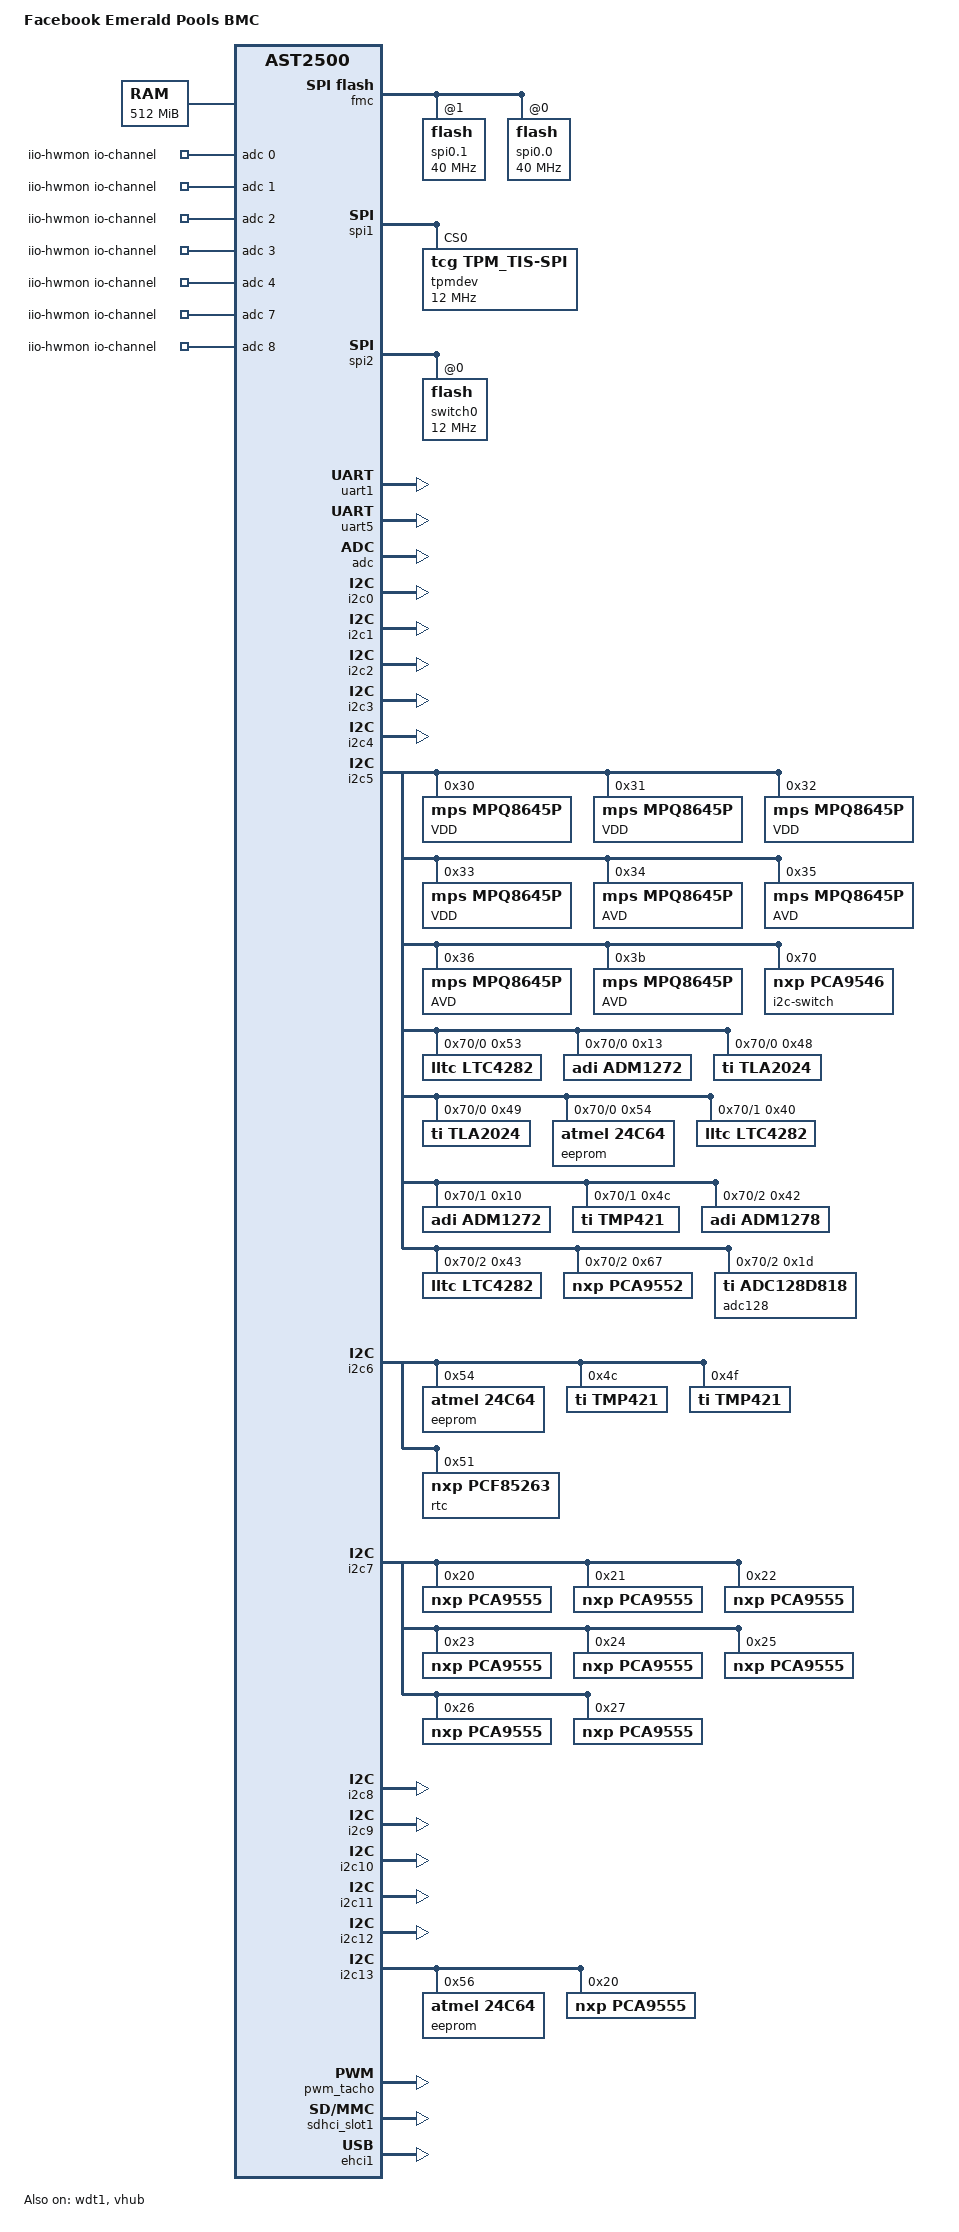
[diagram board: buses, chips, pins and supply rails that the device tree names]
// SPDX-License-Identifier: GPL-2.0+
// Copyright (c) 2018 Facebook Inc.
/dts-v1/;

#include "aspeed-g5.dtsi"
#include <dt-bindings/leds/leds-pca955x.h>
#include <dt-bindings/gpio/aspeed-gpio.h>

/ {
	model = "Facebook Emerald Pools BMC";
	compatible = "facebook,emeraldpools-bmc", "aspeed,ast2500";

	aliases {
		/*
		 * Override the default serial aliases to avoid breaking
		 * the legacy applications.
		 */
		serial0 = &uart5;
		serial1 = &uart1;

		i2c16 = &imux16;
		i2c17 = &imux17;
		i2c18 = &imux18;
	};

	chosen {
		stdout-path = &uart5;
		bootargs = "debug console=ttyS4,57600n8 root=/dev/ram rw";
	};

	memory@80000000 {
		reg = <0x80000000 0x20000000>;
	};

	iio-hwmon {
		compatible = "iio-hwmon";
		io-channels = <&adc 0>, <&adc 1>, <&adc 2>, <&adc 3>,
					<&adc 4>, <&adc 7>, <&adc 8>;
	};
};

&wdt1 {
	status = "okay";
	pinctrl-names = "default";
	pinctrl-0 = <&pinctrl_wdtrst1_default>;
	aspeed,reset-type = "soc";
	aspeed,external-signal;
	aspeed,ext-push-pull;
	aspeed,ext-active-high;
	aspeed,ext-pulse-duration = <256>;
};

&fmc {
	status = "okay";
	flash@0 {
		reg = < 1 >;
		status = "okay";
		m25p,fast-read;
		label = "spi0.1";
		spi-max-frequency = <40000000>;
#include "facebook-bmc-flash1-layout.dtsi"
	};
	flash@1 {
		reg = < 0 >;
		status = "okay";
		m25p,fast-read;
		label = "spi0.0";
		spi-max-frequency = <40000000>;
#include "facebook-bmc-pfr-flash0-layout.dtsi"
	};
};

&spi1 {
	status = "okay";
	compatible = "aspeed,ast2500-spi-master";

	pinctrl-names = "default";
	pinctrl-0 = <&pinctrl_spi1_default>;

	tpmdev@0 {
		reg = <0>;
		compatible = "tcg,tpm_tis-spi";
		spi-max-frequency = <12000000>;
		status = "okay";
	};
};

&spi2 {
	status = "okay";
	compatible = "aspeed,ast2500-spi-master";

	pinctrl-names = "default";
	pinctrl-0 = <&pinctrl_spi2ck_default &pinctrl_spi2cs0_default &pinctrl_spi2miso_default &pinctrl_spi2mosi_default>;

	flash@0 {
		status = "okay";
		m25p,fast-read;
		spi-max-frequency = <12000000>;
		label = "switch0";
	};
};

&uart1 {
	// OAM Console
	status = "okay";
	pinctrl-names = "default";
	pinctrl-0 = <&pinctrl_txd1_default
		     &pinctrl_rxd1_default>;
};

&uart5 {
	// BMC Console
	status = "okay";
};

&adc {
	status = "okay";
};

&i2c0 {
	multi-master;
	status = "okay";
};

&i2c1 {
	multi-master;
	status = "okay";
};

&i2c2 {
	multi-master;
	status = "okay";
};

&i2c3 {
	multi-master;
	status = "okay";
};

&i2c4 {
	status = "okay";
};

&i2c5 {
	status = "okay";
	// Voltage regulators
	VDD@0x30 {
		compatible = "mps,mpq8645p";
		reg = <0x30>;
	};
	VDD@0x31 {
		compatible = "mps,mpq8645p";
		reg = <0x31>;
	};
	VDD@0x32 {
		compatible = "mps,mpq8645p";
		reg = <0x32>;
	};
	VDD@0x33 {
		compatible = "mps,mpq8645p";
		reg = <0x33>;
	};
	AVD@0x34 {
		compatible = "mps,mpq8645p";
		reg = <0x34>;
	};
	AVD@0x35 {
		compatible = "mps,mpq8645p";
		reg = <0x35>;
	};
	AVD@0x36 {
		compatible = "mps,mpq8645p";
		reg = <0x36>;
	};
	AVD@0x3b {
		compatible = "mps,mpq8645p";
		reg = <0x3b>;
	};
	// Muxer emulated by CPLD
	i2c-switch@70 {
		compatible = "nxp,pca9546";
		#address-cells = <1>;
		#size-cells = <0>;
		reg = <0x70>;
		imux16: i2c@0 {
			#address-cells = <1>;
			#size-cells = <0>;
			reg = <0>;
			// P12V Hot swap controller
			ltc4282@53 {
				compatible = "lltc,ltc4282";
				reg = <0x53>;
			};
			// P48V Hot swap controller
			adm1272@13 {
				compatible = "adi,adm1272";
				reg = <0x13>;
				fast-gate-disable;
			};
			// ADC for monitoring vicor temperature
			tla2024@48 {
				compatible = "ti,tla2024";
				reg = <0x48>;
				vin@0 {
					single-channel = <0>;
				};
				vin@1 {
					single-channel = <1>;
				};
				vin@2 {
					single-channel = <2>;
				};
				vin@3 {
					single-channel = <3>;
				};
			};
			// ADC for monitoring vicor temperature
			tla2024@49 {
				compatible = "ti,tla2024";
				reg = <0x49>;
				vin@0 {
					single-channel = <0>;
				};
				vin@1 {
					single-channel = <1>;
				};
				vin@2 {
					single-channel = <2>;
				};
				vin@3 {
					single-channel = <3>;
				};
			};
			// PDB FRUID
			eeprom@54 {
				compatible = "atmel,24c64";
				reg = <0x54>;
			};
		};

		imux17: i2c@1 {
			#address-cells = <1>;
			#size-cells = <0>;
			reg = <1>;
			// P12V Hot swap controller
			ltc4282@40 {
				compatible = "lltc,ltc4282";
				reg = <0x40>;
			};
			// P48V Hot swap controller
			adm1272@10 {
				compatible = "adi,adm1272";
				reg = <0x10>;
				fast-gate-disable;
			};
			// PDB Outlet temperature
			tmp421@4c {
				compatible = "ti,tmp421";
				reg = <0x4c>;
			};
		};

		imux18: i2c@2 {
			#address-cells = <1>;
			#size-cells = <0>;
			reg = <2>;
			// P12V Hot swap controller
			adm1278@42 {
				compatible = "adi,adm1278";
				reg = <0x42>;
			};
			ltc4282@43 {
				compatible = "lltc,ltc4282";
				reg = <0x43>;
			};
			// LED driver
			pca9552@67 {
				compatible = "nxp,pca9552";
				reg = <0x67>;
				#address-cells = <1>;
				#size-cells = <0>;
				gpio-controller;
				#gpio-cells = <2>;

				// Fan present
				gpio@0 {
					reg = <0>;
					type = <PCA955X_TYPE_GPIO>;
				};
				gpio@1 {
					reg = <1>;
					type = <PCA955X_TYPE_GPIO>;
				};
				gpio@2 {
					reg = <2>;
					type = <PCA955X_TYPE_GPIO>;
				};
				gpio@3 {
					reg = <3>;
					type = <PCA955X_TYPE_GPIO>;
				};
				// Fan power
				gpio@4 {
					reg = <4>;
					type = <PCA955X_TYPE_GPIO>;
				};
				gpio@5 {
					reg = <5>;
					type = <PCA955X_TYPE_GPIO>;
				};
				gpio@6 {
					reg = <6>;
					type = <PCA955X_TYPE_GPIO>;
				};
				gpio@7 {
					reg = <7>;
					type = <PCA955X_TYPE_GPIO>;
				};
				// Fan OK LED
				led@8 {
					reg = <8>;
					type = <PCA955X_TYPE_GPIO>;
				};
				led@9 {
					reg = <9>;
					type = <PCA955X_TYPE_GPIO>;
				};
				led@10 {
					reg = <10>;
					type = <PCA955X_TYPE_GPIO>;
				};
				led@11 {
					reg = <11>;
					type = <PCA955X_TYPE_GPIO>;
				};
				// Fan fail LED
				led@12 {
					reg = <12>;
					type = <PCA955X_TYPE_GPIO>;
				};
				led@13 {
					reg = <13>;
					type = <PCA955X_TYPE_GPIO>;
				};
				led@14 {
					reg = <14>;
					type = <PCA955X_TYPE_GPIO>;
				};
				led@15 {
					reg = <15>;
					type = <PCA955X_TYPE_GPIO>;
				};
			};
			// ADC for monitoring fan voltage/current
			adc128@1d {
				compatible = "ti,adc128d818";
				reg = <0x1d>;
				ti,mode = /bits/ 8 <1>;
			};
		};
	};

};

&i2c6 {
	status = "okay";
	// Baseboard FRUID
	eeprom@54 {
		compatible = "atmel,24c64";
		reg = <0x54>;
	};
	// GPU thermal sensor
	tmp421@4c {
		compatible = "ti,tmp421";
		reg = <0x4c>;
	};
	tmp421@4f {
		compatible = "ti,tmp421";
		reg = <0x4f>;
	};
	// RTC
	rtc@51 {
		compatible = "nxp,pcf85263";
		reg = <0x51>;
	};
};

&i2c7 {
	status = "okay";
	// GPIO expander to OAM
	pca9555@20 {
		compatible = "nxp,pca9555";
		reg = <0x20>;
	};
	pca9555@21 {
		compatible = "nxp,pca9555";
		reg = <0x21>;
	};
	pca9555@22 {
		compatible = "nxp,pca9555";
		reg = <0x22>;
	};
	pca9555@23 {
		compatible = "nxp,pca9555";
		reg = <0x23>;
	};
	pca9555@24 {
		compatible = "nxp,pca9555";
		reg = <0x24>;
	};
	pca9555@25 {
		compatible = "nxp,pca9555";
		reg = <0x25>;
	};
	pca9555@26 {
		compatible = "nxp,pca9555";
		reg = <0x26>;
	};
	pca9555@27 {
		compatible = "nxp,pca9555";
		reg = <0x27>;
	};
};

&i2c8 {
	status = "okay";
};

&i2c9 {
	status = "okay";
};

&i2c10 {
	status = "okay";
};

&i2c11 {
	status = "okay";
};

&i2c12 {
	status = "okay";
};

&i2c13 {
	multi-master;
	status = "okay";
	// BSM FRUID
	eeprom@56 {
		compatible = "atmel,24c64";
		reg = <0x56>;
	};
	pca9555@20 {
		compatible = "nxp,pca9555";
		reg = <0x20>;
	};
};

&pwm_tacho {
	status = "okay";
	pinctrl-names = "default";
	pinctrl-0 = <&pinctrl_pwm0_default &pinctrl_pwm1_default &pinctrl_pwm2_default &pinctrl_pwm3_default>;
	fan@0 {
		reg = <0x00>;
		aspeed,fan-tach-ch = /bits/ 8 <0x00 0x01>;
	};

	fan@1 {
		reg = <0x01>;
		aspeed,fan-tach-ch = /bits/ 8 <0x02 0x03>;
	};
	fan@2 {
		reg = <0x02>;
		aspeed,fan-tach-ch = /bits/ 8 <0x04 0x05>;
	};

	fan@3 {
		reg = <0x03>;
		aspeed,fan-tach-ch = /bits/ 8 <0x06 0x07>;
	};
};

&sdhci_slot1 {
	// eMMC
	status = "okay";
	pinctrl-names = "default";
	pinctrl-0 = <&pinctrl_sd2_default>;
	cd-gpio = <&gpio ASPEED_GPIO(V, 0) GPIO_ACTIVE_LOW>;
};

&vhub {
	status = "okay";
};

&ehci1 {
	status = "okay";
};
